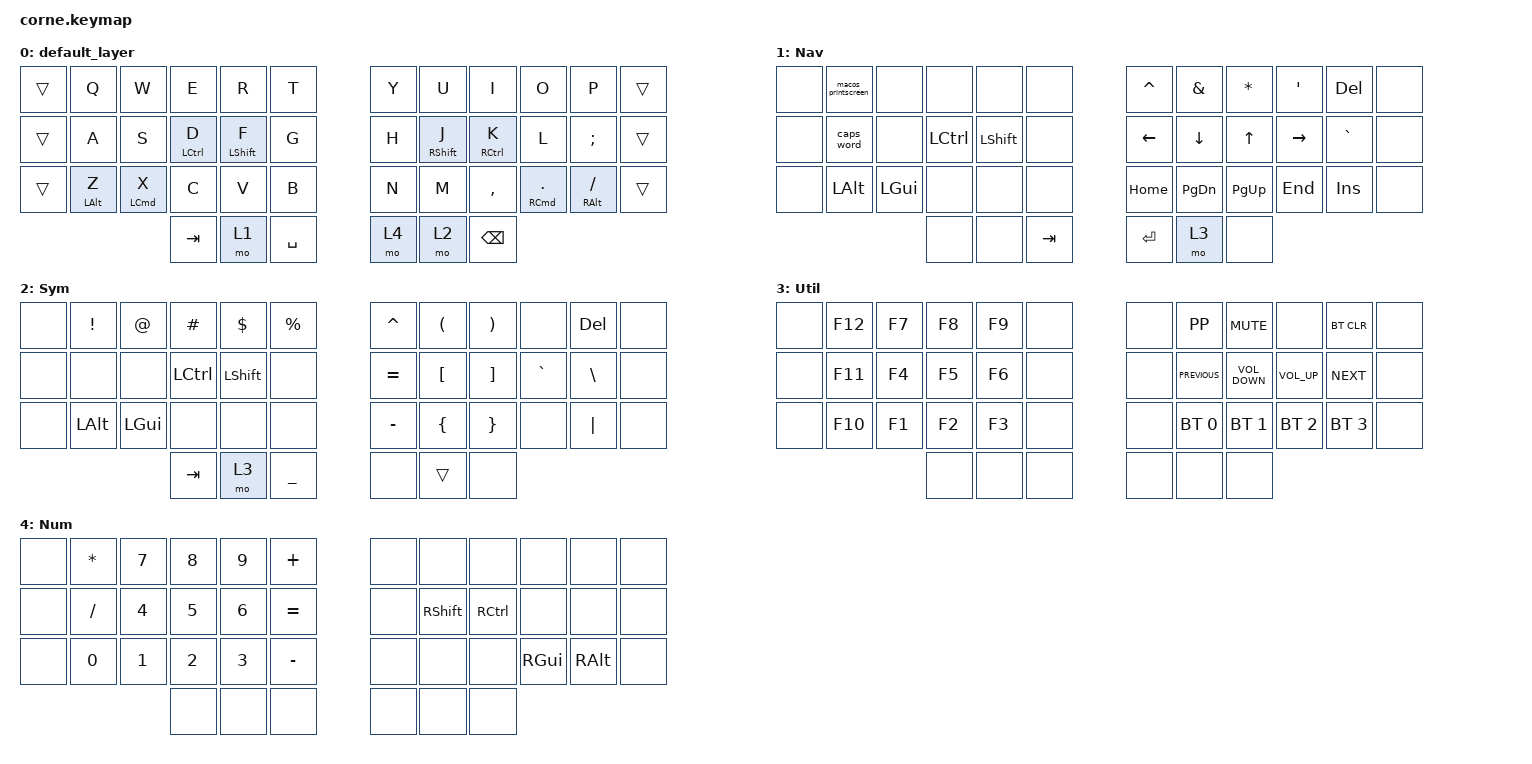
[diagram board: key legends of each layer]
/*
 * Copyright (c) 2020 The ZMK Contributors
 *
 * SPDX-License-Identifier: MIT
 */

#include <behaviors.dtsi>
#include <dt-bindings/zmk/bt.h>
#include <dt-bindings/zmk/keys.h>

/ {
    combos {
        compatible = "zmk,combos";

        JK_ESCAPE {
            bindings = <&kp ESCAPE>;
            key-positions = <19 20>;
            timeout-ms = <20>;
        };

        KL_ENTER {
            bindings = <&kp ENTER>;
            key-positions = <21 20>;
            timeout-ms = <20>;
        };
    };

    macros {
        macos_printscreen: macos_printscreen {
            compatible = "zmk,behavior-macro";
            #binding-cells = <0>;
            bindings = <&kp LS(LC(LG(NUMBER_4)))>;
            label = "MACOS_PRINTSCREEN";
        };
    };

    behaviors {
        hr_lmod: hr_lmod {
            compatible = "zmk,behavior-hold-tap";
            label = "HR_LMOD";
            bindings = <&kp>, <&kp>;

            #binding-cells = <2>;
            tapping-term-ms = <150>;
            quick-tap-ms = <150>;
            flavor = "balanced";
            hold-trigger-key-positions = <6 7 8 9 10 11 18 19 20 21 22 23 30 31 32 33 34 35>;
        };

        hr_rmod: hr_rmod {
            compatible = "zmk,behavior-hold-tap";
            label = "HR_RMOD";
            bindings = <&kp>, <&kp>;

            #binding-cells = <2>;
            tapping-term-ms = <150>;
            quick-tap-ms = <150>;
            flavor = "balanced";
            hold-trigger-key-positions = <0 1 2 3 4 5 12 13 14 15 16 17 24 25 26 27 28 29>;
        };
    };

    keymap {
        compatible = "zmk,keymap";

        default_layer {
            // -----------------------------------------------------------------------------------------
            // |  TAB |  Q  |  W  |  E  |  R  |  T  |   |  Y  |  U   |  I  |  O  |  P  | BKSP |
            // | CTRL |  A  |  S  |  D  |  F  |  G  |   |  H  |  J   |  K  |  L  |  ;  |  '   |
            // | SHFT |  Z  |  X  |  C  |  V  |  B  |   |  N  |  M   |  ,  |  .  |  /  | SHFT |
            //                    | GUI | LWR | SPC |   | ENT | RSE  | ALT |

            bindings = <
&trans  &kp Q                &kp W                    &kp E                    &kp R                  &kp T        &kp Y  &kp U                   &kp I                     &kp O                          &kp P                     &trans
&trans  &kp A                &kp S                    &hr_lmod LEFT_CONTROL D  &hr_lmod LEFT_SHIFT F  &kp G        &kp H  &hr_rmod RIGHT_SHIFT J  &hr_rmod RIGHT_CONTROL K  &kp L                          &kp SEMI                  &trans
&trans  &hr_lmod LEFT_ALT Z  &hr_lmod LEFT_COMMAND X  &kp C                    &kp V                  &kp B        &kp N  &kp M                   &kp COMMA                 &hr_rmod RIGHT_COMMAND PERIOD  &hr_rmod RIGHT_ALT SLASH  &trans
                                                      &kp TAB                  &mo 1                  &kp SPACE    &mo 4  &mo 2                   &kp BACKSPACE
            >;
        };

        Nav {
            // -----------------------------------------------------------------------------------------
            // |  ESB |  1  |  2  |  3  |  4  |  5  |   | HME | PDN | PUP | END | F12 | BKSP |
            // | BTCLR|  6  |  7  |  8  |  9  |  0  |   | LFT | DWN |  UP | RGT |     |      |
            // | SHFT | BTC | BT1 | BT2 | BT3 | BT4 |   |     |     |     |     |     |      |
            //                    | GUI |     | SPC |   | ENT |     | ALT |

            bindings = <
&none  &macos_printscreen  &none     &none      &none      &none      &kp CARET  &kp AMPERSAND  &kp ASTERISK  &kp SINGLE_QUOTE  &kp DELETE  &none
&none  &caps_word          &none     &kp LCTRL  &kp LSHFT  &none      &kp LEFT   &kp DOWN       &kp UP        &kp RIGHT         &kp GRAVE   &none
&none  &kp LALT            &kp LGUI  &none      &none      &none      &kp HOME   &kp PG_DN      &kp PG_UP     &kp END           &kp INS     &none
                                     &none      &none      &kp TAB    &kp RET    &mo 3          &none
            >;
        };

        Sym {
            // -----------------------------------------------------------------------------------------
            // |  ESC |  !  |  @  |  #  |  $  |  %  |   |  ^  |  &  |  *  |  (  |  )  | BKSP |
            // | CTRL |     |     |     |     |     |   |  -  |  =  |  [  |  ]  |  \  |  `   |
            // | SHFT |     |     |     |     | EPo |   |  _  |  +  |  {  |  }  | "|" |  ~   |
            //                    | GUI |     |  _  |   | ENT |     | ALT |

            bindings = <
&none  &kp EXCL  &kp AT    &kp HASH   &kp DLLR   &kp PRCNT    &kp CARET  &kp LEFT_PARENTHESIS  &kp RIGHT_PARENTHESIS  &none      &kp DELETE  &none
&none  &none     &none     &kp LCTRL  &kp LSHFT  &none        &kp EQUAL  &kp LEFT_BRACKET      &kp RIGHT_BRACKET      &kp GRAVE  &kp BSLH    &none
&none  &kp LALT  &kp LGUI  &none      &none      &none        &kp MINUS  &kp LEFT_BRACE        &kp RIGHT_BRACE        &none      &kp PIPE    &none
                           &kp TAB    &mo 3      &kp UNDER    &none      &trans                &none
            >;
        };

        Util {
            bindings = <
&none  &kp F12  &kp F7  &kp F8  &kp F9  &none    &none  &kp K_PP        &kp K_MUTE         &none            &bt BT_CLR    &none
&none  &kp F11  &kp F4  &kp F5  &kp F6  &none    &none  &kp C_PREVIOUS  &kp C_VOLUME_DOWN  &kp C_VOLUME_UP  &kp C_NEXT    &none
&none  &kp F10  &kp F1  &kp F2  &kp F3  &none    &none  &bt BT_SEL 0    &bt BT_SEL 1       &bt BT_SEL 2     &bt BT_SEL 3  &none
                        &none   &none   &none    &none  &none           &none
            >;
        };

        Num {
            bindings = <
&none  &kp ASTERISK  &kp N7  &kp N8  &kp N9  &kp PLUS     &none  &none      &none      &none     &none     &none
&none  &kp FSLH      &kp N4  &kp N5  &kp N6  &kp EQUAL    &none  &kp RSHFT  &kp RCTRL  &none     &none     &none
&none  &kp N0        &kp N1  &kp N2  &kp N3  &kp MINUS    &none  &none      &none      &kp RGUI  &kp RALT  &none
                             &none   &none   &none        &none  &none      &none
            >;
        };
    };
};
